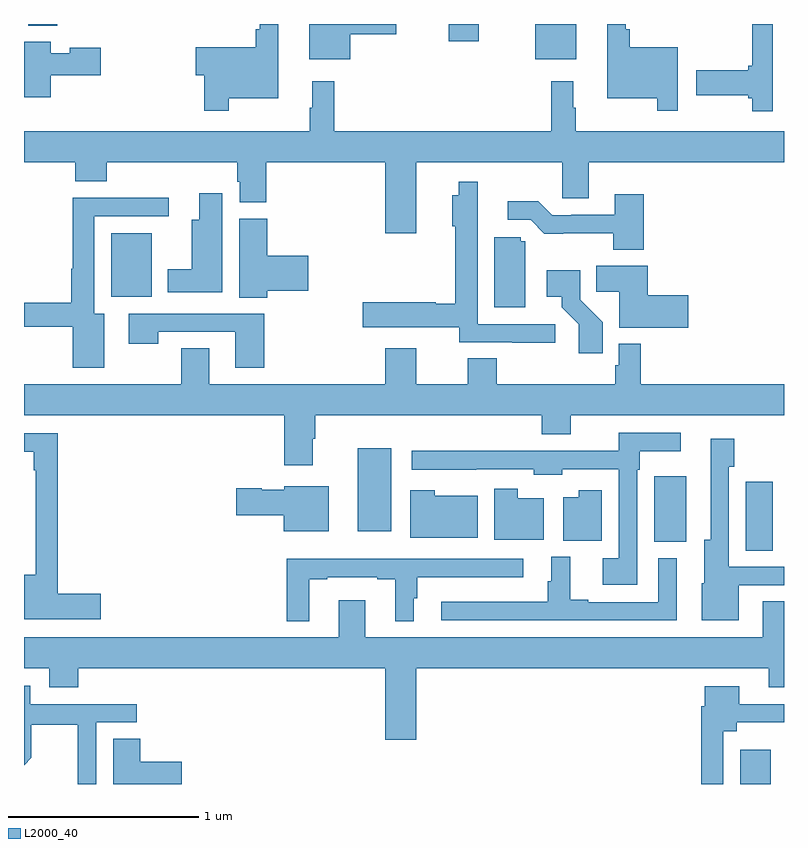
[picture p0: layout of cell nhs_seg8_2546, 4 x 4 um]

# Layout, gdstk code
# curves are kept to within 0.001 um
import gdstk
lib = gdstk.Library(unit=1e-6, precision=1e-09)
def R(c, l, rs):  # rectangles x0, y0, x1, y1
    for r in rs: c.add(gdstk.rectangle(r[:2], r[2:], *l))
def P(c, l, *ps):  # polygons
    for p in ps: c.add(gdstk.Polygon(p, *l))
L2000_40 = (2000, 40)

nhs_seg8_2546 = lib.new_cell('nhs_seg8_2546')
R(nhs_seg8_2546, L2000_40, [(274.769,1107.9,274.93,1108.081), (274.799,1109.128,274.942,1109.491), (274.316,1109.174,274.486,1109.521), (272.756,1109.231,272.932,1109.668), (271.46,1110.464,271.672,1110.799), (273.692,1111.715,273.907,1111.9), (273.236,1111.809,273.394,1111.9), (271.022,1111.891,271.175,1111.9)])
P(nhs_seg8_2546, L2000_40, [(274.44,1111.777),(274.187,1111.777),(274.187,1111.873),(274.167,1111.873),(274.167,1111.9),(274.07,1111.9),(274.07,1111.508),(274.332,1111.508),(274.332,1111.443),(274.44,1111.443)],
  [(274.942,1111.662),(274.941,1111.662),(274.941,1111.9),(274.833,1111.9),(274.833,1111.679),(274.812,1111.679),(274.812,1111.656),(274.539,1111.656),(274.539,1111.526),(274.812,1111.526),(274.812,1111.508),(274.833,1111.508),(274.833,1111.44),(274.942,1111.44)],
  [(272.716,1111.847),(272.959,1111.847),(272.959,1111.9),(272.501,1111.9),(272.501,1111.715),(272.716,1111.715)],
  [(272.077,1111.508),(272.338,1111.508),(272.338,1111.9),(272.241,1111.9),(272.241,1111.873),(272.221,1111.873),(272.221,1111.777),(271.904,1111.777),(271.904,1111.63),(271.948,1111.63),(271.948,1111.443),(272.077,1111.443)],
  [(271.141,1111.63),(271.405,1111.63),(271.405,1111.774),(271.242,1111.774),(271.242,1111.747),(271.141,1111.747),(271.141,1111.806),(271,1111.806),(271,1111.698),(271.001,1111.698),(271.001,1111.515),(271.141,1111.515)],
  [(273.064,1111.172),(273.834,1111.172),(273.834,1110.982),(273.973,1110.982),(273.973,1111.172),(275,1111.172),(275,1111.336),(273.904,1111.336),(273.904,1111.46),(273.892,1111.46),(273.892,1111.6),(273.775,1111.6),(273.775,1111.336),(272.633,1111.336),(272.633,1111.6),(272.516,1111.6),(272.516,1111.46),(272.505,1111.46),(272.505,1111.336),(271,1111.336),(271,1111.172),(271.271,1111.172),(271.271,1111.073),(271.436,1111.073),(271.436,1111.172),(272.123,1111.172),(272.123,1111.071),(272.135,1111.071),(272.135,1110.961),(272.276,1110.961),(272.276,1111.172),(272.9,1111.172),(272.9,1110.798),(273.064,1110.798)],
  [(273.796,1110.321),(273.387,1110.321),(273.387,1110.846),(273.388,1110.846),(273.388,1111.069),(273.289,1111.069),(273.289,1111),(273.254,1111),(273.254,1110.835),(273.271,1110.835),(273.271,1110.427),(273.168,1110.427),(273.168,1110.435),(272.784,1110.435),(272.784,1110.305),(273.291,1110.305),(273.291,1110.225),(273.571,1110.225),(273.571,1110.223),(273.796,1110.223)],
  [(272.044,1111.009),(271.922,1111.009),(271.922,1110.871),(271.883,1110.871),(271.883,1110.61),(271.757,1110.61),(271.757,1110.488),(272.044,1110.488)],
  [(274.262,1111.003),(274.109,1111.003),(274.109,1110.897),(273.88,1110.897),(273.88,1110.894),(273.78,1110.894),(273.707,1110.967),(273.546,1110.967),(273.546,1110.87),(273.666,1110.87),(273.739,1110.797),(274.102,1110.798),(274.102,1110.713),(274.262,1110.713)],
  [(271.423,1110.376),(271.369,1110.376),(271.369,1110.888),(271.762,1110.888),(271.762,1110.986),(271.256,1110.986),(271.256,1110.611),(271.249,1110.611),(271.249,1110.434),(271,1110.434),(271,1110.306),(271.256,1110.306),(271.256,1110.09),(271.423,1110.09)],
  [(272.279,1110.497),(272.497,1110.497),(272.497,1110.68),(272.279,1110.68),(272.279,1110.876),(272.132,1110.876),(272.132,1110.46),(272.279,1110.46)],
  [(273.637,1110.756),(273.615,1110.756),(273.615,1110.777),(273.476,1110.777),(273.476,1110.408),(273.637,1110.408)],
  [(274.495,1110.473),(274.283,1110.473),(274.283,1110.628),(274.012,1110.628),(274.012,1110.49),(274.133,1110.49),(274.133,1110.302),(274.495,1110.302)],
  [(274.046,1110.33),(273.927,1110.449),(273.927,1110.604),(273.75,1110.604),(273.75,1110.464),(273.83,1110.464),(273.83,1110.409),(273.921,1110.319),(273.921,1110.168),(274.046,1110.168)],
  [(272.264,1110.375),(271.551,1110.375),(271.551,1110.216),(271.707,1110.216),(271.707,1110.279),(272.111,1110.279),(272.111,1110.09),(272.264,1110.09)],
  [(272.521,1109.717),(272.534,1109.717),(272.534,1109.84),(273.725,1109.84),(273.725,1109.741),(273.877,1109.741),(273.877,1109.84),(275,1109.84),(275,1110.004),(274.247,1110.004),(274.247,1110.217),(274.131,1110.217),(274.131,1110.105),(274.111,1110.105),(274.111,1110.004),(273.488,1110.004),(273.488,1110.14),(273.335,1110.14),(273.335,1110.004),(273.064,1110.004),(273.064,1110.193),(272.9,1110.193),(272.9,1110.004),(271.975,1110.004),(271.975,1110.194),(271.828,1110.194),(271.828,1110.004),(271,1110.004),(271,1109.84),(272.369,1109.84),(272.369,1109.577),(272.521,1109.577)],
  [(274.227,1109.555),(274.24,1109.555),(274.24,1109.651),(274.456,1109.651),(274.456,1109.748),(274.129,1109.748),(274.129,1109.654),(273.042,1109.654),(273.042,1109.555),(273.38,1109.555),(273.38,1109.556),(273.684,1109.556),(273.684,1109.528),(273.834,1109.528),(273.834,1109.556),(274.131,1109.556),(274.131,1109.089),(274.047,1109.089),(274.047,1108.949),(274.227,1108.949)],
  [(271.405,1108.901),(271.178,1108.901),(271.178,1109.745),(271,1109.745),(271,1109.649),(271.05,1109.649),(271.05,1109.552),(271.062,1109.552),(271.062,1109.002),(271,1109.002),(271,1108.766),(271.405,1108.766)],
  [(274.762,1108.947),(275,1108.947),(275,1109.043),(274.71,1109.043),(274.71,1109.571),(274.737,1109.571),(274.737,1109.716),(274.614,1109.716),(274.614,1109.185),(274.58,1109.185),(274.58,1108.956),(274.568,1108.956),(274.568,1108.763),(274.762,1108.763)],
  [(272.605,1109.467),(272.37,1109.467),(272.37,1109.449),(272.25,1109.449),(272.25,1109.457),(272.118,1109.457),(272.118,1109.315),(272.366,1109.315),(272.366,1109.231),(272.605,1109.231)],
  [(273.736,1109.404),(273.598,1109.404),(273.598,1109.455),(273.476,1109.455),(273.476,1109.186),(273.736,1109.186)],
  [(273.388,1109.416),(273.162,1109.416),(273.162,1109.446),(273.032,1109.446),(273.032,1109.195),(273.388,1109.195)],
  [(274.042,1109.446),(273.92,1109.446),(273.92,1109.41),(273.839,1109.41),(273.839,1109.18),(274.042,1109.18)],
  [(274.435,1109.089),(274.338,1109.089),(274.338,1108.857),(273.97,1108.857),(273.97,1108.87),(273.874,1108.87),(273.874,1109.095),(273.776,1109.095),(273.776,1108.968),(273.757,1108.968),(273.757,1108.858),(273.195,1108.858),(273.195,1108.761),(274.435,1108.761)],
  [(272.5,1108.977),(272.596,1108.977),(272.596,1108.989),(272.858,1108.989),(272.858,1108.977),(272.954,1108.977),(272.954,1108.757),(273.052,1108.757),(273.052,1108.878),(273.071,1108.878),(273.071,1108.988),(273.628,1108.988),(273.628,1109.085),(272.928,1109.085),(272.928,1109.086),(272.383,1109.086),(272.383,1108.757),(272.5,1108.757)],
  [(273.064,1108.508),(274.919,1108.508),(274.919,1108.409),(275,1108.409),(275,1108.862),(274.889,1108.862),(274.889,1108.672),(272.797,1108.672),(272.797,1108.867),(272.657,1108.867),(272.657,1108.672),(271,1108.672),(271,1108.508),(271.133,1108.508),(271.133,1108.409),(271.286,1108.409),(271.286,1108.508),(272.9,1108.508),(272.9,1108.134),(273.064,1108.134)],
  [(271.38,1108.224),(271.594,1108.224),(271.594,1108.32),(271.032,1108.32),(271.032,1108.417),(271,1108.417),(271,1108),(271.037,1108.037),(271.037,1108.212),(271.282,1108.212),(271.282,1107.988),(271.284,1107.988),(271.284,1107.9),(271.38,1107.9)],
  [(274.68,1108.178),(274.75,1108.178),(274.75,1108.224),(275,1108.224),(275,1108.32),(274.765,1108.32),(274.765,1108.414),(274.583,1108.414),(274.583,1108.31),(274.564,1108.31),(274.564,1107.9),(274.68,1107.9)],
  [(271.831,1108.016),(271.613,1108.016),(271.613,1108.139),(271.469,1108.139),(271.469,1107.9),(271.831,1107.9)])

lib.write_gds('nhs_seg8_2546.gds')
